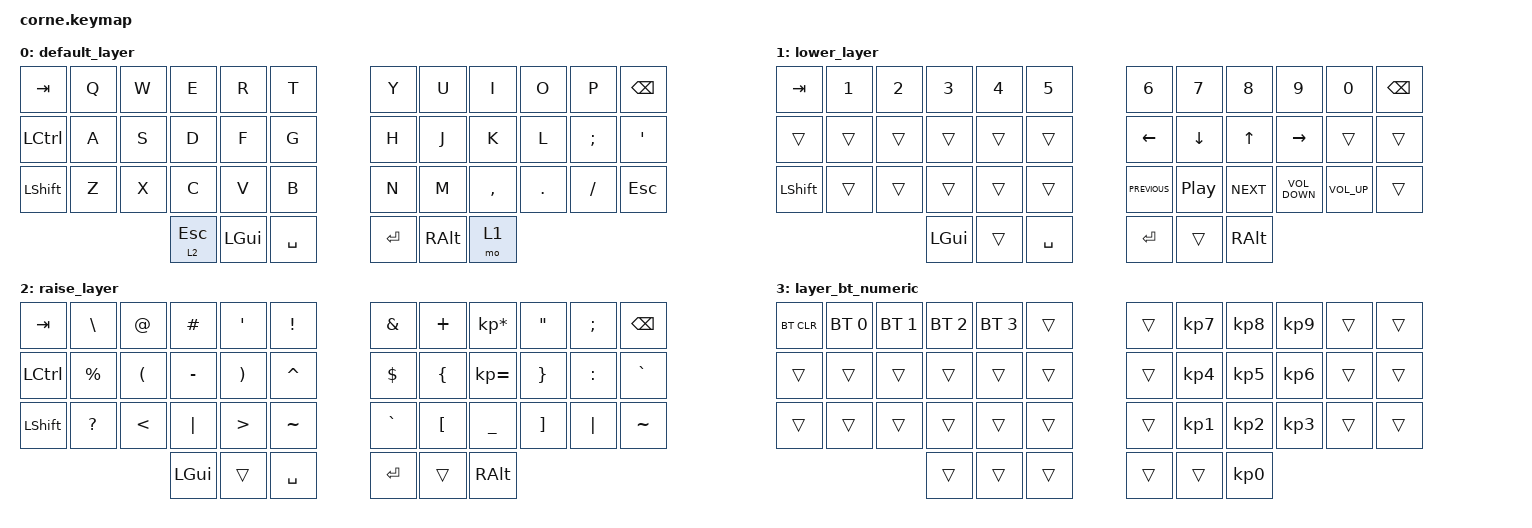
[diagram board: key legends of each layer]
/*
 * Copyright (c) 2020 The ZMK Contributors
 *
 * SPDX-License-Identifier: MIT
 */

#include <behaviors.dtsi>
#include <dt-bindings/zmk/bt.h>
#include <dt-bindings/zmk/keys.h>

/ {
    combos {
        compatible = "zmk,combos";

        zx_to_numeric {
            bindings = <&mo 3>;
            key-positions = <25 26>;
        };
    };

    keymap {
        compatible = "zmk,keymap";

        default_layer {
            // -----------------------------------------------------------------------------------------
            // |  TAB |  Q  |  W  |  E  |  R  |  T  |   |  Y  |  U   |  I  |  O  |  P  | BKSP |
            // | CTRL |  A  |  S  |  D  |  F  |  G  |   |  H  |  J   |  K  |  L  |  ;  |  '   |
            // | SHFT |  Z  |  X  |  C  |  V  |  B  |   |  N  |  M   |  ,  |  .  |  /  | ESC  |
            //                    | GUI | LWR | SPC |   | ENT | RSE  | ALT |

            bindings = <
&kp TAB    &kp Q  &kp W  &kp E         &kp R     &kp T        &kp Y    &kp U          &kp I      &kp O    &kp P     &kp BSPC
&kp LCTRL  &kp A  &kp S  &kp D         &kp F     &kp G        &kp H    &kp J          &kp K      &kp L    &kp SEMI  &kp SQT
&kp LSHFT  &kp Z  &kp X  &kp C         &kp V     &kp B        &kp N    &kp M          &kp COMMA  &kp DOT  &kp FSLH  &kp ESC
                         &lt 2 ESCAPE  &kp LGUI  &kp SPACE    &kp RET  &kp RIGHT_ALT  &mo 1
            >;
        };

        lower_layer {
            // -----------------------------------------------------------------------------------------
            // |  TAB |  1  |  2  |  3  |  4  |  5  |   |  6  |  7  |  8  |  9  |  0  | BKSP |
            // | BTCLR| BT1 | BT2 | BT3 | BT4 | BT5 |   | LFT | DWN |  UP | RGT |     |      |
            // | SHFT |     |     |     |     |     |   |     |     |     |     |     |      |
            //                    | GUI |     | SPC |   | ENT |     | ALT |

            bindings = <
&kp TAB    &kp N1  &kp N2  &kp N3    &kp N4  &kp N5       &kp N6          &kp N7            &kp N8      &kp N9             &kp N0           &kp BSPC
&trans     &trans  &trans  &trans    &trans  &trans       &kp LEFT        &kp DOWN          &kp UP      &kp RIGHT          &trans           &trans
&kp LSHFT  &trans  &trans  &trans    &trans  &trans       &kp C_PREVIOUS  &kp C_PLAY_PAUSE  &kp C_NEXT  &kp C_VOLUME_DOWN  &kp C_VOLUME_UP  &trans
                           &kp LGUI  &trans  &kp SPACE    &kp RET         &trans            &kp RALT
            >;
        };

        raise_layer {
            // -----------------------------------------------------------------------------------------
            // |  TAB |  !  |  @  |  #  |  $  |  %  |   |  ^  |  &  |  *  |  (  |  )  | BKSP |
            // | CTRL |     |     |     |     |     |   |  -  |  =  |  [  |  ]  |  \  |  `   |
            // | SHFT |     |     |     |     |     |   |  _  |  +  |  {  |  }  | "|" |  ~   |
            //                    | GUI |     | SPC |   | ENT |     | ALT |

            bindings = <
&kp TAB    &kp BSLH      &kp AT                &kp HASH   &kp SINGLE_QUOTE       &kp EXCL     &kp AMPS    &kp PLUS          &kp KP_MULTIPLY  &kp DOUBLE_QUOTES  &kp SEMI   &kp BSPC
&kp LCTRL  &kp PRCNT     &kp LEFT_PARENTHESIS  &kp MINUS  &kp RIGHT_PARENTHESIS  &kp CARET    &kp DOLLAR  &kp LEFT_BRACE    &kp KP_EQUAL     &kp RIGHT_BRACE    &kp COLON  &kp GRAVE
&kp LSHFT  &kp QUESTION  &kp LESS_THAN         &kp PIPE   &kp GREATER_THAN       &kp TILDE    &kp GRAVE   &kp LEFT_BRACKET  &kp UNDERSCORE   &kp RIGHT_BRACKET  &kp PIPE   &kp TILDE
                                               &kp LGUI   &trans                 &kp SPACE    &kp RET     &trans            &kp RALT
            >;
        };

        layer_bt_numeric {
            bindings = <
&bt BT_CLR  &bt BT_SEL 0  &bt BT_SEL 1  &bt BT_SEL 2  &bt BT_SEL 3  &trans    &trans  &kp KP_NUMBER_7  &kp KP_NUMBER_8  &kp KP_NUMBER_9  &trans  &trans
&trans      &trans        &trans        &trans        &trans        &trans    &trans  &kp KP_NUMBER_4  &kp KP_NUMBER_5  &kp KP_NUMBER_6  &trans  &trans
&trans      &trans        &trans        &trans        &trans        &trans    &trans  &kp KP_NUMBER_1  &kp KP_NUMBER_2  &kp KP_NUMBER_3  &trans  &trans
                                        &trans        &trans        &trans    &trans  &trans           &kp KP_NUMBER_0
            >;
        };
    };
};
